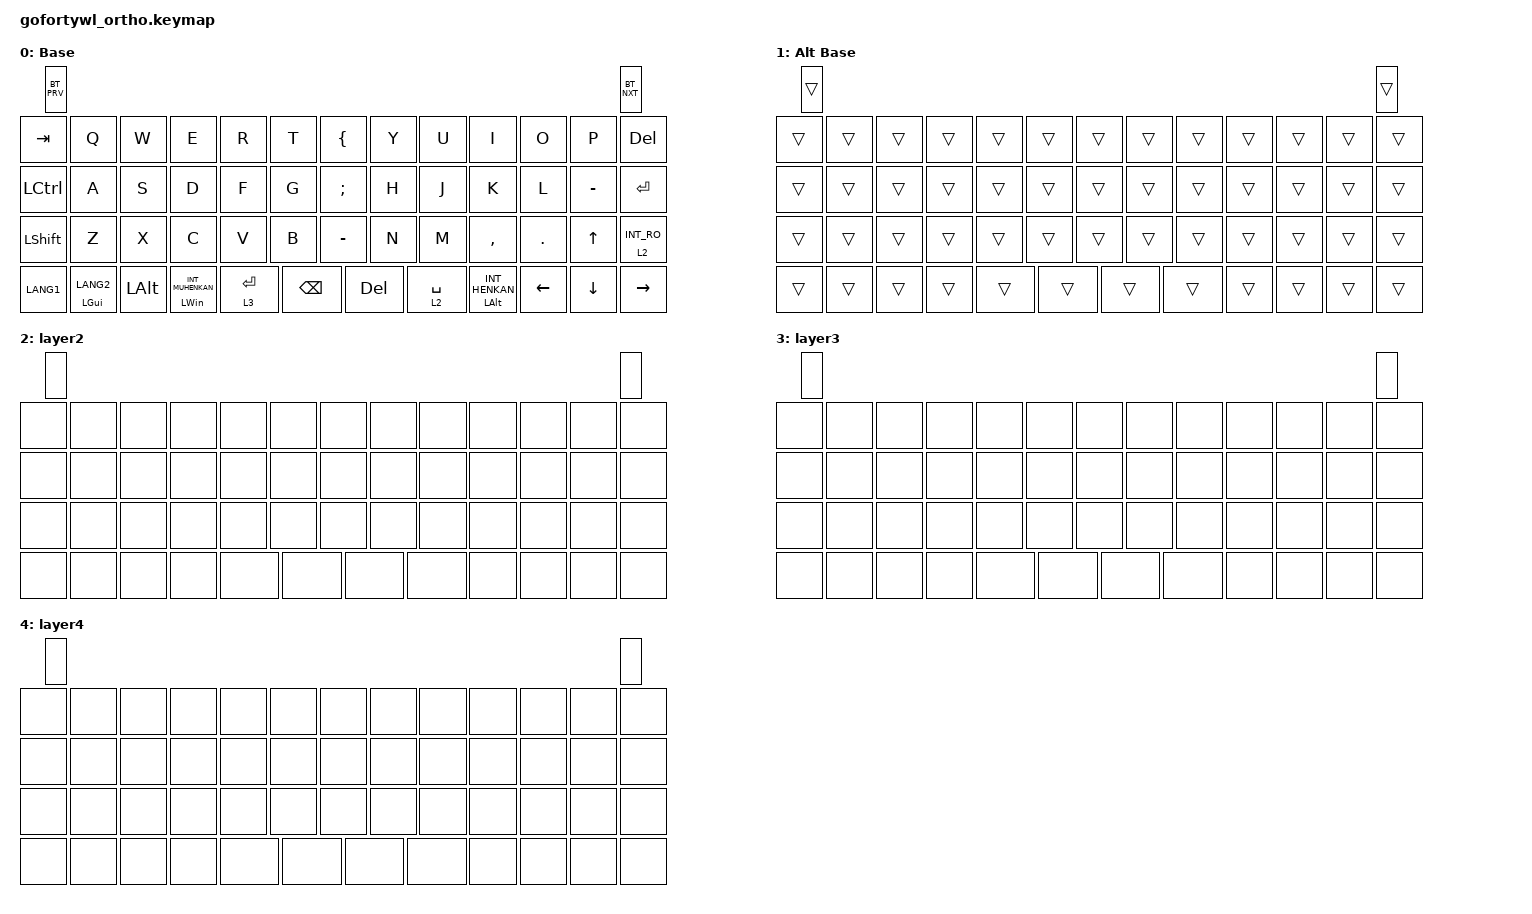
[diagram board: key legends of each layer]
#include <behaviors.dtsi>
#include <behaviors/runtime_macro.dtsi>
#include <dt-bindings/zmk/bt.h>
#include <behaviors/runtime_tap_dance.dtsi>
#include <dt-bindings/zmk/keys.h>
#include <dt-bindings/zmk/pointing.h>

/* --- 標準の &mt (Mod-Tap) は「長押し：タイピング優先」 ---
   ZMK の &mt は flavor = "hold-preferred" で、押している間に別のキーが
   押された瞬間にホールドと決まる。Z に Shift を重ねると「醸造 (zyouzou)」を
   速く打ったときに z と y、z と o の押下が重なり、Shift+y / Shift+o に
   なって「YouOu」と入力されていた。

   tap-preferred は、判定時間 (200ms) が過ぎるまで押し続けたときだけ
   ホールドになる。その前に離せば、別のキーと重なっていてもタップ。
   QMK の既定 (PERMISSIVE_HOLD も HOLD_ON_OTHER_KEY_PRESS も無し) と同じ。
   単語の頭の z (直前に間が空いている) もこれで直る。

   require-prior-idle-ms は、直前のキーから 150ms 以内に押されたら
   その場でタップと決める。単語の途中の z は判定を待たずに出るので、
   速く打っているときの引っかかりが無くなる。代わりに、速く打っている
   途中で Z を Shift として使うと z が出る。

   ゆっくり Z を押し続ければ Shift。200ms 経つ前に押した別のキーにも、
   Z を 200ms 押し続けていれば Shift が付く (押下は判定まで保留される)。

   従来の &mt と同じ動作は下の mt_mid (Mod-Tap 200ms)。ノード名は変えて
   いないので、「Mod-Tap」を割り当て済みのキーはそのまま新しい判定になる。 */
&mt {
    flavor = "tap-preferred";
    tapping-term-ms = <200>;
    require-prior-idle-ms = <150>;
};

/ {
    behaviors {
        /* --- タップ/ホールドの判定時間プリセット ---
           押している時間がここで指定した ms を超えたら「ホールド」、
           それより短ければ「タップ」と判定される。
           数値ちがいのインスタンスを並べて定義しておくと、Keeb-On! Studio の
           キー割り当て候補にそのまま並び、キーごとに好みの速さを選べる。
           値そのものはコンパイル時固定だが、ファームウェアはタグを打てば
           GitHub Releases から配布されるので、合わなければ数値を変えて再配布する。

           flavor は ZMK の標準に合わせてある:
             mod-tap 系   = hold-preferred (ZMK 本来の &mt と同じ)
             layer-tap 系 = tap-preferred  (ZMK の &lt と同じ)
           lt_mid は標準の &lt と完全に同じ挙動。mt_mid は ZMK 本来の &mt と
           同じ挙動で、このファイルの先頭で tap-preferred に上書きしている
           &mt とは違う (mt_mid が「長押し：反応優先」の 200ms)。 */

        mt_fast: mod_tap_fast {
            compatible = "zmk,behavior-hold-tap";
            #binding-cells = <2>;
            flavor = "hold-preferred";
            tapping-term-ms = <150>;
            bindings = <&kp>, <&kp>;
            display-name = "Mod-Tap 150ms";
        };

        mt_mid: mod_tap_mid {
            compatible = "zmk,behavior-hold-tap";
            #binding-cells = <2>;
            flavor = "hold-preferred";
            tapping-term-ms = <200>;
            bindings = <&kp>, <&kp>;
            display-name = "Mod-Tap 200ms";
        };

        mt_slow: mod_tap_slow {
            compatible = "zmk,behavior-hold-tap";
            #binding-cells = <2>;
            flavor = "hold-preferred";
            tapping-term-ms = <280>;
            bindings = <&kp>, <&kp>;
            display-name = "Mod-Tap 280ms";
        };

        lt_fast: layer_tap_fast {
            compatible = "zmk,behavior-hold-tap";
            #binding-cells = <2>;
            flavor = "tap-preferred";
            tapping-term-ms = <150>;
            bindings = <&mo>, <&kp>;
            display-name = "Layer-Tap 150ms";
        };

        lt_mid: layer_tap_mid {
            compatible = "zmk,behavior-hold-tap";
            #binding-cells = <2>;
            flavor = "tap-preferred";
            tapping-term-ms = <200>;
            bindings = <&mo>, <&kp>;
            display-name = "Layer-Tap 200ms";
        };

        lt_slow: layer_tap_slow {
            compatible = "zmk,behavior-hold-tap";
            #binding-cells = <2>;
            flavor = "tap-preferred";
            tapping-term-ms = <280>;
            bindings = <&mo>, <&kp>;
            display-name = "Layer-Tap 280ms";
        };

        /* --- QMK の PERMISSIVE_HOLD 相当 ---
           QMK の PERMISSIVE_HOLD は「押している間に別のキーが押されて
           *離された* なら、TAPPING_TERM を待たずにホールドと決める」。
           ZMK ではこれが flavor = "balanced"。上の hold-preferred は
           QMK でいう HOLD_ON_OTHER_KEY_PRESS(別キーが押された時点で
           ホールド確定)で、もっと強い。tap-preferred はその逆側。

           時間は QMK 側で使っていた TAPPING_TERM 180 に合わせてある。

           QUICK_TAP_TERM 0 に相当する設定は書いていない。ZMK の
           quick-tap-ms は既定が -1 = 無効で、これが QMK の 0 と同じ意味。
           値を書くとむしろ有効になってしまう。

           ClickBoard ErgoTrack と同じ 2 つ。名前(display-name)も同じに
           してある: Keeb-On! Studio は末尾の「<数値>ms」と括弧の中身で
           プリセットを見分ける。 */
        mt_perm: mod_tap_perm {
            compatible = "zmk,behavior-hold-tap";
            #binding-cells = <2>;
            flavor = "balanced";
            tapping-term-ms = <180>;
            bindings = <&kp>, <&kp>;
            display-name = "Mod-Tap 180ms (Permissive)";
        };

        lt_perm: layer_tap_perm {
            compatible = "zmk,behavior-hold-tap";
            #binding-cells = <2>;
            flavor = "balanced";
            tapping-term-ms = <180>;
            bindings = <&mo>, <&kp>;
            display-name = "Layer-Tap 180ms (Permissive)";
        };

        /* --- 長押しの判定方式を 200ms で揃えた 3 択 ---
           Keeb-On! Studio でキーごとに選べるようにする。時間は全部 200ms で、
           違うのは「押している間に別のキーが押されたとき」の扱いだけ。

                           Mod-Tap            Layer-Tap
             タイピング優先  &mt (上書き)       &lt (標準のまま)
             バランス        mt_bal             lt_bal
             反応優先        mt_mid             lt_hold

           タイピング優先 (tap-preferred): 判定時間まで押し続けたときだけ
             ホールド。文字キーに修飾キーを重ねるならこれ。
           バランス (balanced): 押している間に別のキーを押して離したら
             ホールド。QMK の PERMISSIVE_HOLD。
           反応優先 (hold-preferred): 押している間に別のキーを押した時点で
             ホールド。QMK の HOLD_ON_OTHER_KEY_PRESS。

           &lt に require-prior-idle-ms は付けない。文字を打った直後に
           親指のレイヤーキーを押してカーソルを動かす、という使い方が
           スペースの入力に化けるため。

           display-name は「<名前> <数値>ms (<方式>)」の形を守る。アプリは
           この形で Mod-Tap / Layer-Tap の仲間だと判定し、括弧の中身から
           判定方式の表示名と説明を付ける。Mod-Tap 200ms (Balanced) が
           あることは、アプリが「このファームの &mt はタイピング優先」と
           判断する目印でもある (判定方式は通信では見えない)。
           ノード名は保存済みキーマップがビヘイビアを覚える名前なので、
           一度出したら変えないこと。 */
        mt_bal: mod_tap_balanced {
            compatible = "zmk,behavior-hold-tap";
            #binding-cells = <2>;
            flavor = "balanced";
            tapping-term-ms = <200>;
            bindings = <&kp>, <&kp>;
            display-name = "Mod-Tap 200ms (Balanced)";
        };

        lt_bal: layer_tap_balanced {
            compatible = "zmk,behavior-hold-tap";
            #binding-cells = <2>;
            flavor = "balanced";
            tapping-term-ms = <200>;
            bindings = <&mo>, <&kp>;
            display-name = "Layer-Tap 200ms (Balanced)";
        };

        lt_hold: layer_tap_hold {
            compatible = "zmk,behavior-hold-tap";
            #binding-cells = <2>;
            flavor = "hold-preferred";
            tapping-term-ms = <200>;
            bindings = <&mo>, <&kp>;
            display-name = "Layer-Tap 200ms (Hold-preferred)";
        };
    };

    keymap {
        compatible = "zmk,keymap";

        default_layer {
            display-name = "Base";
            // Layer 0: o51go の Remap キーマップと同一構成(BTキー2個の追加のみ)

            bindings = <
&bt BT_PRV  &bt BT_NXT  &kp TAB  &kp Q  &kp W  &kp E  &kp R  &kp T  &kp LBRC  &kp Y  &kp U  &kp I  &kp O  &kp P  &kp DEL  &kp LCTRL  &kp A  &kp S  &kp D  &kp F  &kp G  &kp SEMI  &kp H  &kp J  &kp K  &kp L  &kp MINUS  &kp RET  &kp LSHFT  &kp Z  &kp X  &kp C  &kp V  &kp B  &kp MINUS  &kp N  &kp M  &kp COMMA  &kp DOT  &kp UP  &lt_mid 2 INT_RO  &kp LANG1  &mt_mid LGUI LANG2  &kp LALT  &mt_mid LEFT_WIN INT_MUHENKAN  &lt_mid 3 RET  &kp BSPC  &kp DELETE  &lt_mid 2 SPACE  &mt_mid LALT INT_HENKAN  &kp LEFT  &kp DOWN  &kp RIGHT
            >;
        };

        alt_base_layer {
            display-name = "Alt Base";
            // Layer 1: もう一方のOS用のベース。OS検出がデフォルトレイヤーを
            // 0 と 1 で切り替える (CONFIG_ZMK_DEFAULT_LAYER_OS_DETECTION)。
            //
            // ここが「デフォルトレイヤー」になったときは、これより下の
            // レイヤーは参照されない: zmk_keymap_position_state_changed() の
            // 走査はデフォルトレイヤーで止まる。つまり &trans のままだと
            // 切り替えた瞬間に全キーが無反応になる。
            // Keeb-On! Studio の「Baseからコピー」で埋めてから使うこと。
            //
            // 位置は 1 でなければならない。&lt_mid で押さえるレイヤーは
            // デフォルトより上(番号が大きい)である必要があるため、
            // ここに割り込ませて既存のレイヤーを1つずつ繰り下げてある。

            bindings = <
&trans  &trans  &trans  &trans  &trans  &trans  &trans  &trans  &trans  &trans  &trans  &trans  &trans  &trans  &trans  &trans  &trans  &trans  &trans  &trans  &trans  &trans  &trans  &trans  &trans  &trans  &trans  &trans  &trans  &trans  &trans  &trans  &trans  &trans  &trans  &trans  &trans  &trans  &trans  &trans  &trans  &trans  &trans  &trans  &trans  &trans  &trans  &trans  &trans  &trans  &trans  &trans  &trans
            >;
        };

        layer2 {
            // Layer 2: 空。ビルド後に Keeb-On! Studio から自由に割り当てる。
            //
            // 先頭キーは一時期 &studio_unlock だった。Studio のロックをやめた
            // ので不要になり、外してある。経緯は .conf に書いた。

            bindings = <
&none  &none  &none  &none  &none  &none  &none  &none  &none  &none  &none  &none  &none  &none  &none  &none  &none  &none  &none  &none  &none  &none  &none  &none  &none  &none  &none  &none  &none  &none  &none  &none  &none  &none  &none  &none  &none  &none  &none  &none  &none  &none  &none  &none  &none  &none  &none  &none  &none  &none  &none  &none  &none
            >;
        };

        layer3 {
            // Layer 3: 空。ZMK Studioから割り当てる。

            bindings = <
&none  &none  &none  &none  &none  &none  &none  &none  &none  &none  &none  &none  &none  &none  &none  &none  &none  &none  &none  &none  &none  &none  &none  &none  &none  &none  &none  &none  &none  &none  &none  &none  &none  &none  &none  &none  &none  &none  &none  &none  &none  &none  &none  &none  &none  &none  &none  &none  &none  &none  &none  &none  &none
            >;
        };

        layer4 {
            // Layer 4: 空。ZMK Studioから割り当てる。

            bindings = <
&none  &none  &none  &none  &none  &none  &none  &none  &none  &none  &none  &none  &none  &none  &none  &none  &none  &none  &none  &none  &none  &none  &none  &none  &none  &none  &none  &none  &none  &none  &none  &none  &none  &none  &none  &none  &none  &none  &none  &none  &none  &none  &none  &none  &none  &none  &none  &none  &none  &none  &none  &none  &none
            >;
        };

        /* Keeb-On! Studio から足せる空きレイヤー枠。基本 5 + 予備 11 = 16 層
         * (ClickBoard ErgoTrack と同じ上限)。予備は書き換えたぶんだけ保存領域を
         * 使うので、たくさん使うときはアプリの「設定の保存領域」を見る。
         * ZMK の上限は 32(レイヤー状態が 32 ビット)。 */
        extra1 { status = "reserved"; };
        extra2 { status = "reserved"; };
        extra3 { status = "reserved"; };
        extra4 { status = "reserved"; };
        extra5 { status = "reserved"; };
        extra6 { status = "reserved"; };
        extra7 { status = "reserved"; };
        extra8 { status = "reserved"; };
        extra9 { status = "reserved"; };
        extra10 { status = "reserved"; };
        extra11 { status = "reserved"; };
    };
};
